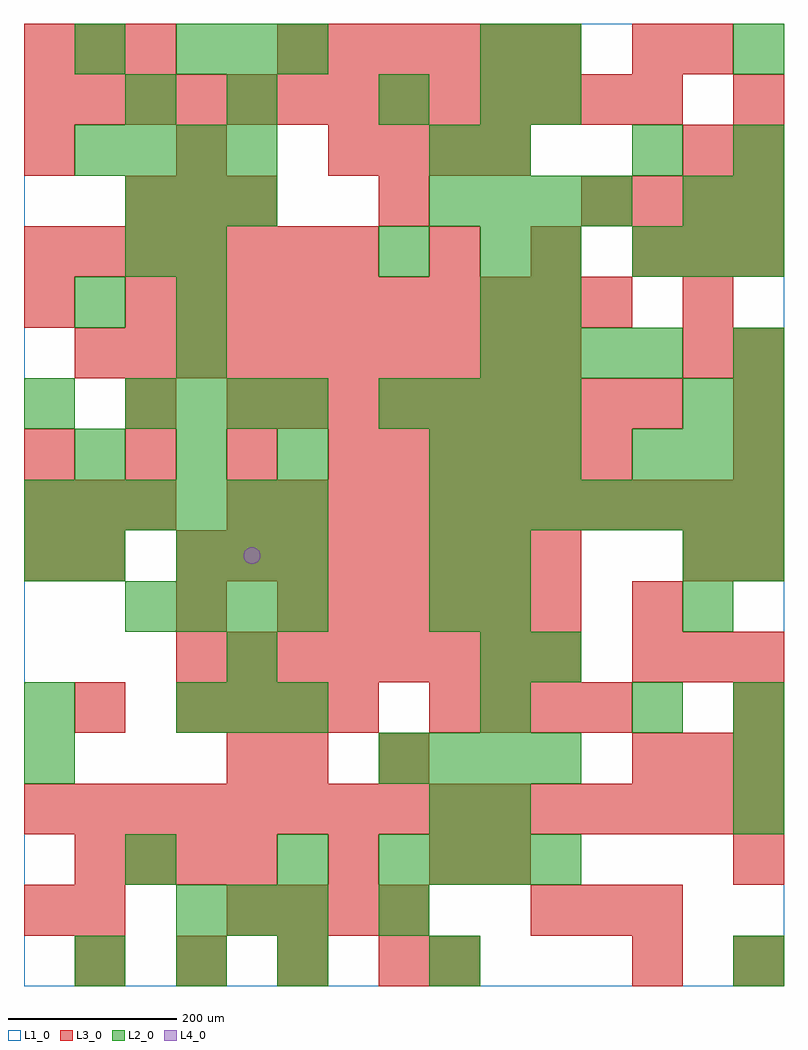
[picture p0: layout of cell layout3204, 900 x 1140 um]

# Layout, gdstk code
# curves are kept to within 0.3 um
import gdstk
lib = gdstk.Library(unit=1e-6, precision=1e-09)
def R(c, l, rs):  # rectangles x0, y0, x1, y1
    for r in rs: c.add(gdstk.rectangle(r[:2], r[2:], *l))
def A(c, l, x, y, w, h, nx, ny, dx, dy):  # array of equal rectangles
    R(c, l, [(x+i*dx, y+j*dy, x+i*dx+w, y+j*dy+h) for i in range(nx) for j in range(ny)])
def P(c, l, *ps):  # polygons
    for p in ps: c.add(gdstk.Polygon(p, *l))
L1_0 = (1, 0)
L2_0 = (2, 0)
L3_0 = (3, 0)
L4_0 = (4, 0)

layout3204 = lib.new_cell('layout3204')
R(layout3204, L1_0, [(0,0,900,1140)])
A(layout3204, L2_0, 60, 0, 60, 60, 3, 2, 120, 600)
A(layout3204, L2_0, 180, 60, 60, 60, 3, 2, 60, 240)
A(layout3204, L2_0, 420, 120, 60, 60, 4, 2, 60, 120)
A(layout3204, L2_0, 840, 180, 60, 60, 1, 3, 0, 60)
A(layout3204, L2_0, 0, 300, 60, 60, 1, 3, 0, 180)
A(layout3204, L2_0, 540, 300, 60, 60, 1, 4, 0, 60)
A(layout3204, L2_0, 120, 420, 60, 60, 4, 2, 60, 240)
A(layout3204, L2_0, 60, 480, 60, 60, 1, 3, 0, 300)
A(layout3204, L2_0, 180, 480, 60, 60, 3, 2, 60, 600)
A(layout3204, L2_0, 0, 540, 60, 60, 6, 1, 60, 0)
A(layout3204, L2_0, 480, 540, 60, 60, 7, 1, 60, 0)
A(layout3204, L2_0, 480, 600, 60, 60, 3, 1, 60, 0)
A(layout3204, L2_0, 720, 600, 60, 60, 3, 2, 60, 240)
A(layout3204, L2_0, 420, 660, 60, 60, 4, 1, 60, 0)
A(layout3204, L2_0, 180, 720, 60, 60, 1, 3, 0, 60)
A(layout3204, L2_0, 540, 720, 60, 60, 4, 1, 60, 0)
A(layout3204, L2_0, 120, 900, 60, 60, 3, 1, 60, 0)
A(layout3204, L2_0, 480, 900, 60, 60, 4, 1, 60, 0)
A(layout3204, L2_0, 60, 960, 60, 60, 4, 1, 60, 0)
A(layout3204, L2_0, 540, 960, 60, 60, 1, 3, 0, 60)
R(layout3204, L2_0, [(480,0,540,60), (840,0,900,60), (420,60,480,120), (120,120,180,180), (300,120,360,180), (480,180,540,240), (540,180,600,240), (0,240,60,300), (720,300,780,360), (240,360,300,420), (600,360,660,420), (480,420,540,480), (780,420,840,480), (480,480,540,540), (780,480,840,540), (840,480,900,540), (780,660,840,720), (840,660,900,720), (840,720,900,780), (540,780,600,840), (600,780,660,840), (120,840,180,900), (420,840,480,900), (540,840,600,900), (600,840,660,900), (780,900,840,960), (840,900,900,960), (480,960,540,1020), (720,960,780,1020), (840,960,900,1020), (120,1020,180,1080), (240,1020,300,1080), (420,1020,480,1080), (600,1020,660,1080), (600,1080,660,1140), (840,1080,900,1140)])
A(layout3204, L3_0, 60, 0, 60, 60, 4, 1, 120, 0)
A(layout3204, L3_0, 240, 60, 60, 60, 4, 1, 60, 0)
A(layout3204, L3_0, 600, 60, 60, 60, 3, 1, 60, 0)
A(layout3204, L3_0, 60, 120, 60, 60, 4, 1, 60, 0)
A(layout3204, L3_0, 840, 120, 60, 60, 1, 3, 0, 180)
A(layout3204, L3_0, 0, 180, 60, 60, 15, 1, 60, 0)
A(layout3204, L3_0, 720, 240, 60, 60, 3, 2, 60, 120)
A(layout3204, L3_0, 180, 300, 60, 60, 4, 1, 60, 0)
A(layout3204, L3_0, 480, 300, 60, 60, 4, 1, 60, 0)
A(layout3204, L3_0, 180, 360, 60, 60, 8, 2, 60, 120)
A(layout3204, L3_0, 300, 420, 60, 60, 6, 2, 60, 660)
A(layout3204, L3_0, 0, 540, 60, 60, 3, 2, 60, 540)
A(layout3204, L3_0, 240, 540, 60, 60, 11, 1, 60, 0)
A(layout3204, L3_0, 0, 600, 60, 60, 4, 1, 120, 0)
A(layout3204, L3_0, 420, 600, 60, 60, 5, 1, 60, 0)
A(layout3204, L3_0, 840, 600, 60, 60, 1, 3, 0, 60)
A(layout3204, L3_0, 240, 660, 60, 60, 9, 1, 60, 0)
A(layout3204, L3_0, 60, 720, 60, 60, 10, 1, 60, 0)
A(layout3204, L3_0, 780, 720, 60, 60, 1, 3, 0, 60)
A(layout3204, L3_0, 120, 780, 60, 60, 10, 1, 60, 0)
A(layout3204, L3_0, 0, 840, 60, 60, 7, 1, 60, 0)
A(layout3204, L3_0, 480, 840, 60, 60, 3, 1, 120, 0)
A(layout3204, L3_0, 120, 900, 60, 60, 3, 1, 60, 0)
A(layout3204, L3_0, 660, 900, 60, 60, 4, 1, 60, 0)
A(layout3204, L3_0, 0, 960, 60, 60, 3, 1, 180, 0)
A(layout3204, L3_0, 420, 960, 60, 60, 3, 1, 60, 0)
A(layout3204, L3_0, 0, 1020, 60, 60, 13, 1, 60, 0)
R(layout3204, L3_0, [(480,0,540,60), (720,0,780,60), (840,0,900,60), (0,60,60,120), (60,60,120,120), (360,120,420,180), (480,120,540,180), (540,120,600,180), (240,240,300,300), (300,240,360,300), (420,240,480,300), (60,300,120,360), (180,420,240,480), (720,420,780,480), (0,480,60,540), (60,480,120,540), (780,480,840,540), (120,660,180,720), (0,780,60,840), (840,840,900,900), (420,900,480,960), (780,960,840,1020), (840,960,900,1020), (840,1020,900,1080), (720,1080,780,1140), (780,1080,840,1140)])
P(layout3204, L4_0, [(280,510),(279.239,513.827),(277.071,517.071),(273.827,519.239),(270,520),(266.173,519.239),(262.929,517.071),(260.761,513.827),(260,510),(260.761,506.173),(262.929,502.929),(266.173,500.761),(270,500),(273.827,500.761),(277.071,502.929),(279.239,506.173)])

lib.write_gds('layout3204.gds')
